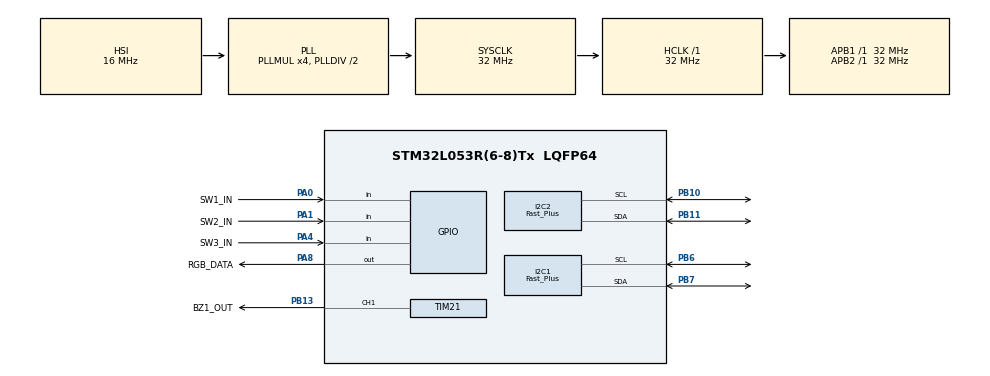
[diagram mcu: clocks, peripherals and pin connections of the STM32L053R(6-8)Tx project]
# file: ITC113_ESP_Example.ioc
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I2C1.I2C_Speed_Mode=I2C_Fast_Plus
I2C1.Timing=0x00100413
I2C2.I2C_Speed_Mode=I2C_Fast_Plus
I2C2.Timing=0x00100413
Mcu.Family=STM32L0
Mcu.Name=STM32L053R(6-8)Tx
Mcu.Package=LQFP64
NVIC.TIM6_DAC_IRQn=true\:0\:0\:false\:false\:true\:true\:true\:true
PA0.GPIO_Label=SW1_IN
PA0.Signal=GPIO_Input
PA1.GPIO_Label=SW2_IN
PA1.Signal=GPIO_Input
PA4.GPIO_Label=SW3_IN
PA4.Signal=GPIO_Input
PA8.GPIO_Label=RGB_DATA
PA8.Signal=GPIO_Output
PB10.Mode=I2C
PB10.Signal=I2C2_SCL
PB11.Mode=I2C
PB11.Signal=I2C2_SDA
PB13.GPIO_Label=BZ1_OUT
PB13.Signal=S_TIM21_CH1
PB6.Mode=I2C
PB6.Signal=I2C1_SCL
PB7.Mode=I2C
PB7.Signal=I2C1_SDA
PC14-OSC32_IN.Mode=LSE-External-Oscillator
PC14-OSC32_IN.Signal=RCC_OSC32_IN
PC15-OSC32_OUT.Mode=LSE-External-Oscillator
PC15-OSC32_OUT.Signal=RCC_OSC32_OUT
ProjectManager.HeapSize=0x400
ProjectManager.StackSize=0x200
ProjectManager.TargetToolchain=MDK-ARM V5.32
RCC.AHBFreq_Value=32000000
RCC.APB1Freq_Value=32000000
RCC.APB1TimFreq_Value=32000000
RCC.APB2Freq_Value=32000000
RCC.APB2TimFreq_Value=32000000
RCC.HCLKFreq_Value=32000000
RCC.HSE_VALUE=8000000
RCC.HSI16_VALUE=16000000
RCC.HSI48MClockSelection=RCC_USBCLKSOURCE_HSI48
RCC.HSI48_VALUE=48000000
RCC.HSI_VALUE=16000000
RCC.MSI_VALUE=2097000
RCC.PLLMUL=RCC_PLLMUL_4
RCC.RTCClockSelection=RCC_RTCCLKSOURCE_LSE
RCC.RTCClockSelectionVirtual=RCC_RTCCLKSOURCE_LSE
RCC.SYSCLKFreq_VALUE=32000000
RCC.SYSCLKSource=RCC_SYSCLKSOURCE_PLLCLK
RCC.VCOOutputFreq_Value=64000000
SH.S_TIM21_CH1.0=TIM21_CH1,PWM Generation1 CH1
TIM21.Channel-PWM\ Generation1\ CH1=TIM_CHANNEL_1
TIM21.Period=250-1
TIM21.Prescaler=32-1
TIM6.Period=1000-1
TIM6.Prescaler=32-1
VP_RTC_VS_RTC_Activate.Mode=RTC_Enabled
VP_TIM21_VS_ClockSourceINT.Mode=Internal
VP_TIM6_VS_ClockSourceINT.Mode=Enable_Timer
board=custom

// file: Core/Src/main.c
/* USER CODE BEGIN Header */
/**
 ******************************************************************************
 * @file           : main.c
 * @brief          : Main program body
 ******************************************************************************
 * @attention
 *
 * Copyright (c) 2024 STMicroelectronics.
 * All rights reserved.
 *
 * This software is licensed under terms that can be found in the LICENSE file
 * in the root directory of this software component.
 * If no LICENSE file comes with this software, it is provided AS-IS.
 *
 ******************************************************************************
 */
/* USER CODE END Header */
#include "main.h"

/* USER CODE BEGIN Includes */
#include "fonts.h"
#include "ssd1306.h"
#include "stdio.h"
/* USER CODE END Includes */

/* USER CODE BEGIN PD */
#define INA3221_ADDRESS 0x40 << 1

#define BASE_SW_PORT SW1_IN_GPIO_Port
#define BTN_DOWN(pin) (HAL_GPIO_ReadPin(pin##_IN_GPIO_Port, pin##_IN_Pin))
#define HAS_BTN_FLAG(pin) (btn_flag & (pin##_IN_Pin))
#define CHECK_BTN(pin) (BTN_DOWN(pin) && !HAS_BTN_FLAG(pin))
#define UPDATE_STATUS (btn_flag = BASE_SW_PORT->IDR)

#define LED_OFF (0x000000)
#define LED_RED (0x000f00)
#define LED_GREEN (0x0f0000)
#define LED_BLUE (0x00000f)
#define LED_WHITE (0x080808)
#define LED_YELLOW (0x080800)
/* USER CODE END PD */

I2C_HandleTypeDef hi2c1;
I2C_HandleTypeDef hi2c2;

RTC_HandleTypeDef hrtc;

TIM_HandleTypeDef htim6;
TIM_HandleTypeDef htim21;

/* USER CODE BEGIN PV */
RTC_DateTypeDef sDate;
RTC_TimeTypeDef sTime;

int total_energy = 0;
uint8_t mode = 1, task = 0, old_task = 0, btn_flag = 0, select_alert = 0;
uint8_t use_alert = 1, use_led = 1;
uint16_t alert_time = 0, led_timer = 0;
uint8_t btn_time_down_flag = 0;
uint32_t btn_down_starttime = 0;

char OLED_buf[30];
int voltages[3] = {0}, currents[3] = {0}, powers[3] = {0};
uint8_t counts[3] = {0};
uint32_t led_colors_buff[3] = {0}, energys_acc[3] = {0}, Q_acc[3] = {0},
         energys[3] = {0}, Q[3] = {0};

uint32_t MODE0_LED_MAP[5] = {LED_OFF, LED_RED, LED_GREEN, LED_BLUE, LED_WHITE};
char *LED_NAME[5] = {"OFF", "RED", "GREEN", "BLUE", "WHITE"};
char *SWITCH_NAME[2] = {"OFF", "ON"};
/* USER CODE END PV */

void SystemClock_Config(void);
static void MX_GPIO_Init(void);
static void MX_I2C1_Init(void);
static void MX_I2C2_Init(void);
static void MX_TIM21_Init(void);
static void MX_TIM6_Init(void);
static void MX_RTC_Init(void);
/* USER CODE BEGIN PFP */
void ws2812b_display_all_led_colors(uint32_t *buff);
void ws2812b_set_colors(uint32_t grb);

void update_data(void);
void clear_leds(void);
/* USER CODE END PFP */

int main(void) {

  /* MCU Configuration--------------------------------------------------------*/

  /* Reset of all peripherals, Initializes the Flash interface and the Systick.
   */
  HAL_Init();

  /* Configure the system clock */
  SystemClock_Config();

  /* Initialize all configured peripherals */
  MX_GPIO_Init();
  MX_I2C1_Init();
  MX_I2C2_Init();
  MX_TIM21_Init();
  MX_TIM6_Init();
  MX_RTC_Init();
  /* USER CODE BEGIN 2 */

  ssd1306_Init(&hi2c2);

  clear_leds();
  HAL_TIM_PWM_Start(&htim21, TIM_CHANNEL_1);
  HAL_TIM_Base_Start_IT(&htim6);

  if (BTN_DOWN(SW2)) mode = 0;
  UPDATE_STATUS;

  /* USER CODE END 2 */

  /* Infinite loop */
  while (1) {

    /* USER CODE BEGIN 3 */
    HAL_RTC_GetTime(&hrtc, &sTime, RTC_FORMAT_BIN);
    HAL_RTC_GetDate(&hrtc, &sDate, RTC_FORMAT_BIN);
    if (mode == 0) {
      if (CHECK_BTN(SW1)) counts[0] = (counts[0] + 1) % 5;
      if (CHECK_BTN(SW2)) counts[1] = (counts[1] + 1) % 5;
      if (CHECK_BTN(SW3)) counts[2] = (counts[2] + 1) % 5;
      UPDATE_STATUS;

      sprintf(OLED_buf, "ITC113_Electronics");
      ssd1306_SetCursor(0, 0);
      ssd1306_WriteString(OLED_buf, Font_7x10, White);

      sprintf(OLED_buf, "Competitor: 00");
      ssd1306_SetCursor(0, 10);
      ssd1306_WriteString(OLED_buf, Font_7x10, White);

      uint8_t btns_stats[] = {BTN_DOWN(SW1), BTN_DOWN(SW2), BTN_DOWN(SW3)};
      for (int i = 0; i < 3; i++) {
        led_colors_buff[i] = MODE0_LED_MAP[counts[i]];
        sprintf(OLED_buf, "SW%d:%3s LED%d:%-5s", i + 1,
                btns_stats[i] ? "ON" : "OFF", i + 1, LED_NAME[counts[i]]);
        ssd1306_SetCursor(0, 10 + 10 * (i + 1));
        ssd1306_WriteString(OLED_buf, Font_7x10, White);
      }

      sprintf(OLED_buf, "SystemRTC:%02d:%02d:%02d", sTime.Hours, sTime.Minutes,
              sTime.Seconds);
      ssd1306_SetCursor(0, 10 * 5);
      ssd1306_WriteString(OLED_buf, Font_7x10, White);
    } else {
      update_data();

      if (CHECK_BTN(SW1)) {
        alert_time = 50;
        if (task > 0) task--;
      } else if (CHECK_BTN(SW3)) {
        alert_time = 50;
        if (task < 4) task++;
      }
      if (old_task != task) {
        clear_leds();
        ssd1306_Fill(Black);
        old_task = task;
        btn_down_starttime = select_alert = 0;
      }
      if (CHECK_BTN(SW2)) {
        btn_time_down_flag = 1;
        btn_down_starttime = HAL_GetTick();
      } else if (btn_time_down_flag) {
        if (HAL_GetTick() - btn_down_starttime > 2000) {
          if (task == 0) {
            alert_time = 300;
            total_energy = 0;
          } else if (task == 1 || task == 2 || task == 3) {
            alert_time = 300;
            Q[task - 1] = Q_acc[task - 1] = 0;
            energys[task - 1] = energys_acc[task - 1] = 0;
          } else if (task == 4) {
            if (select_alert) {
              use_led = !use_led;
              clear_leds();
            } else use_alert = !use_alert;
          }
          btn_time_down_flag = 0;
        } else if (!BTN_DOWN(SW2) && task == 4) {
          select_alert = !select_alert;
          btn_time_down_flag = 0;
        }
      }
      UPDATE_STATUS;

      switch (task) {
        case 0: {
          if (use_led) {
            for (int i = 0; i < 3; i++) {
              int x1 = (i + 1) % 3;
              int x2 = (i + 2) % 3;

              if (powers[i] == 0) led_colors_buff[i] = LED_OFF;
              else if (powers[i] > powers[x1] && powers[i] > powers[x2]) {
                led_colors_buff[i] = LED_RED;  // highest
              } else if (powers[i] < powers[x1] && powers[i] < powers[x2]) {
                led_colors_buff[i] = LED_BLUE;         // 2nd highest
              } else led_colors_buff[i] = LED_YELLOW;  // lowest
            }
          }

          sprintf(OLED_buf, "Total Wattage:");
          ssd1306_SetCursor(0, 0);
          ssd1306_WriteString(OLED_buf, Font_7x10, White);

          int total_power = powers[0];
          for (int i = 1; i < 3; i++) total_power += powers[i];
          total_power /= 10;  // only show 2 decimal
          sprintf(OLED_buf, "%3d.%02dW", total_power / 100,
                  total_power % 100);
          ssd1306_SetCursor(15, 10);
          ssd1306_WriteString(OLED_buf, Font_16x26, White);

          sprintf(OLED_buf, "Energy Used:");
          ssd1306_SetCursor(0, 34);
          ssd1306_WriteString(OLED_buf, Font_7x10, White);

          sprintf(OLED_buf, "%4d.%04dWh", total_energy / 10000,
                  total_energy % 10000);
          ssd1306_SetCursor(6, 44);
          ssd1306_WriteString(OLED_buf, Font_11x18, White);
        } break;
        case 1:
        case 2:
        case 3: {
          if (use_led) led_colors_buff[task - 1] = LED_WHITE;

          sprintf(OLED_buf, "CH%d Information", task);
          ssd1306_SetCursor(0, 0);
          ssd1306_WriteString(OLED_buf, Font_7x10, White);

          int voltage = voltages[task - 1];
          sprintf(OLED_buf, "Voltage:%2d.%03dV", voltage / 1000,
                  voltage % 1000);
          ssd1306_SetCursor(0, 10);
          ssd1306_WriteString(OLED_buf, Font_7x10, White);

          int current = currents[task - 1];
          sprintf(OLED_buf, "Current:%2d.%03dA", current / 1000,
                  current % 1000);
          ssd1306_SetCursor(0, 20);
          ssd1306_WriteString(OLED_buf, Font_7x10, White);

          int power = powers[task - 1];
          sprintf(OLED_buf, "Power:%4d.%03dW", power / 1000, power % 1000);
          ssd1306_SetCursor(0, 30);
          ssd1306_WriteString(OLED_buf, Font_7x10, White);

          int energy = energys[task - 1];
          sprintf(OLED_buf, "Energy:%3d.%04dWh", energy / 10000,
                  energy % 10000);
          ssd1306_SetCursor(0, 40);
          ssd1306_WriteString(OLED_buf, Font_7x10, White);

          int Q_ = Q[task - 1];
          sprintf(OLED_buf, "q:%8d.%03dmAh ", Q_ / 1000, Q_ % 1000);
          ssd1306_SetCursor(0, 50);
          ssd1306_WriteString(OLED_buf, Font_7x10, White);
        } break;
        case 4: {
          sprintf(OLED_buf, "System settings");
          ssd1306_SetCursor(0, 0);
          ssd1306_WriteString(OLED_buf, Font_7x10, White);

          sprintf(OLED_buf, "Buzz:");
          ssd1306_SetCursor(0, 10);
          ssd1306_WriteString(OLED_buf, Font_11x18, White);

          sprintf(OLED_buf, "%-3s", SWITCH_NAME[!!use_alert]);
          ssd1306_SetCursor(60, 10);
          ssd1306_WriteString(OLED_buf, Font_11x18,
                              select_alert ? White : Black);

          sprintf(OLED_buf, "LEDs:");
          ssd1306_SetCursor(0, 28);
          ssd1306_WriteString(OLED_buf, Font_11x18, White);

          sprintf(OLED_buf, "%-3s", SWITCH_NAME[!!use_led]);
          ssd1306_SetCursor(60, 28);
          ssd1306_WriteString(OLED_buf, Font_11x18,
                              select_alert ? Black : White);

          if (use_led) {
            led_colors_buff[counts[0]] = LED_GREEN;
            if (!led_timer) {
              led_timer = 500;
              led_colors_buff[counts[0]] = LED_OFF;
              counts[0] = (counts[0] + 1) % 3;
            }
          }
        } break;
      }
    }
    ssd1306_UpdateScreen(&hi2c2);
  }
  /* USER CODE END 3 */
}

void SystemClock_Config(void) {
  RCC_OscInitTypeDef RCC_OscInitStruct = {0};
  RCC_ClkInitTypeDef RCC_ClkInitStruct = {0};
  RCC_PeriphCLKInitTypeDef PeriphClkInit = {0};

  /** Configure the main internal regulator output voltage
   */
  __HAL_PWR_VOLTAGESCALING_CONFIG(PWR_REGULATOR_VOLTAGE_SCALE1);

  /** Configure LSE Drive Capability
   */
  HAL_PWR_EnableBkUpAccess();
  __HAL_RCC_LSEDRIVE_CONFIG(RCC_LSEDRIVE_LOW);

  /** Initializes the RCC Oscillators according to the specified parameters
   * in the RCC_OscInitTypeDef structure.
   */
  RCC_OscInitStruct.OscillatorType =
      RCC_OSCILLATORTYPE_HSI | RCC_OSCILLATORTYPE_LSE;
  RCC_OscInitStruct.LSEState = RCC_LSE_ON;
  RCC_OscInitStruct.HSIState = RCC_HSI_ON;
  RCC_OscInitStruct.HSICalibrationValue = RCC_HSICALIBRATION_DEFAULT;
  RCC_OscInitStruct.PLL.PLLState = RCC_PLL_ON;
  RCC_OscInitStruct.PLL.PLLSource = RCC_PLLSOURCE_HSI;
  RCC_OscInitStruct.PLL.PLLMUL = RCC_PLLMUL_4;
  RCC_OscInitStruct.PLL.PLLDIV = RCC_PLLDIV_2;
  if (HAL_RCC_OscConfig(&RCC_OscInitStruct) != HAL_OK) {
    Error_Handler();
  }

  /** Initializes the CPU, AHB and APB buses clocks
   */
  RCC_ClkInitStruct.ClockType = RCC_CLOCKTYPE_HCLK | RCC_CLOCKTYPE_SYSCLK |
                                RCC_CLOCKTYPE_PCLK1 | RCC_CLOCKTYPE_PCLK2;
  RCC_ClkInitStruct.SYSCLKSource = RCC_SYSCLKSOURCE_PLLCLK;
  RCC_ClkInitStruct.AHBCLKDivider = RCC_SYSCLK_DIV1;
  RCC_ClkInitStruct.APB1CLKDivider = RCC_HCLK_DIV1;
  RCC_ClkInitStruct.APB2CLKDivider = RCC_HCLK_DIV1;

  if (HAL_RCC_ClockConfig(&RCC_ClkInitStruct, FLASH_LATENCY_1) != HAL_OK) {
    Error_Handler();
  }
  PeriphClkInit.PeriphClockSelection = RCC_PERIPHCLK_I2C1 | RCC_PERIPHCLK_RTC;
  PeriphClkInit.I2c1ClockSelection = RCC_I2C1CLKSOURCE_PCLK1;
  PeriphClkInit.RTCClockSelection = RCC_RTCCLKSOURCE_LSE;
  if (HAL_RCCEx_PeriphCLKConfig(&PeriphClkInit) != HAL_OK) {
    Error_Handler();
  }
}

static void MX_I2C1_Init(void) {

  hi2c1.Instance = I2C1;
  hi2c1.Init.Timing = 0x00100413;
  hi2c1.Init.OwnAddress1 = 0;
  hi2c1.Init.AddressingMode = I2C_ADDRESSINGMODE_7BIT;
  hi2c1.Init.DualAddressMode = I2C_DUALADDRESS_DISABLE;
  hi2c1.Init.OwnAddress2 = 0;
  hi2c1.Init.OwnAddress2Masks = I2C_OA2_NOMASK;
  hi2c1.Init.GeneralCallMode = I2C_GENERALCALL_DISABLE;
  hi2c1.Init.NoStretchMode = I2C_NOSTRETCH_DISABLE;
  if (HAL_I2C_Init(&hi2c1) != HAL_OK) {
    Error_Handler();
  }

  /** Configure Analogue filter
   */
  if (HAL_I2CEx_ConfigAnalogFilter(&hi2c1, I2C_ANALOGFILTER_ENABLE) != HAL_OK) {
    Error_Handler();
  }

  /** Configure Digital filter
   */
  if (HAL_I2CEx_ConfigDigitalFilter(&hi2c1, 0) != HAL_OK) {
    Error_Handler();
  }

  /** I2C Fast mode Plus enable
   */
  HAL_I2CEx_EnableFastModePlus(I2C_FASTMODEPLUS_I2C1);
}

static void MX_I2C2_Init(void) {

  hi2c2.Instance = I2C2;
  hi2c2.Init.Timing = 0x00100413;
  hi2c2.Init.OwnAddress1 = 0;
  hi2c2.Init.AddressingMode = I2C_ADDRESSINGMODE_7BIT;
  hi2c2.Init.DualAddressMode = I2C_DUALADDRESS_DISABLE;
  hi2c2.Init.OwnAddress2 = 0;
  hi2c2.Init.OwnAddress2Masks = I2C_OA2_NOMASK;
  hi2c2.Init.GeneralCallMode = I2C_GENERALCALL_DISABLE;
  hi2c2.Init.NoStretchMode = I2C_NOSTRETCH_DISABLE;
  if (HAL_I2C_Init(&hi2c2) != HAL_OK) {
    Error_Handler();
  }

  /** Configure Analogue filter
   */
  if (HAL_I2CEx_ConfigAnalogFilter(&hi2c2, I2C_ANALOGFILTER_ENABLE) != HAL_OK) {
    Error_Handler();
  }

  /** Configure Digital filter
   */
  if (HAL_I2CEx_ConfigDigitalFilter(&hi2c2, 0) != HAL_OK) {
    Error_Handler();
  }

  /** I2C Fast mode Plus enable
   */
  HAL_I2CEx_EnableFastModePlus(I2C_FASTMODEPLUS_I2C2);
}

static void MX_RTC_Init(void) {

  /** Initialize RTC Only
   */
  hrtc.Instance = RTC;
  hrtc.Init.HourFormat = RTC_HOURFORMAT_24;
  hrtc.Init.AsynchPrediv = 127;
  hrtc.Init.SynchPrediv = 255;
  hrtc.Init.OutPut = RTC_OUTPUT_DISABLE;
  hrtc.Init.OutPutRemap = RTC_OUTPUT_REMAP_NONE;
  hrtc.Init.OutPutPolarity = RTC_OUTPUT_POLARITY_HIGH;
  hrtc.Init.OutPutType = RTC_OUTPUT_TYPE_OPENDRAIN;
  if (HAL_RTC_Init(&hrtc) != HAL_OK) {
    Error_Handler();
  }
}

static void MX_TIM6_Init(void) {

  TIM_MasterConfigTypeDef sMasterConfig = {0};

  htim6.Instance = TIM6;
  htim6.Init.Prescaler = 32 - 1;
  htim6.Init.CounterMode = TIM_COUNTERMODE_UP;
  htim6.Init.Period = 1000 - 1;
  htim6.Init.AutoReloadPreload = TIM_AUTORELOAD_PRELOAD_DISABLE;
  if (HAL_TIM_Base_Init(&htim6) != HAL_OK) {
    Error_Handler();
  }
  sMasterConfig.MasterOutputTrigger = TIM_TRGO_RESET;
  sMasterConfig.MasterSlaveMode = TIM_MASTERSLAVEMODE_DISABLE;
  if (HAL_TIMEx_MasterConfigSynchronization(&htim6, &sMasterConfig) != HAL_OK) {
    Error_Handler();
  }
}

static void MX_TIM21_Init(void) {

  TIM_ClockConfigTypeDef sClockSourceConfig = {0};
  TIM_MasterConfigTypeDef sMasterConfig = {0};
  TIM_OC_InitTypeDef sConfigOC = {0};

  htim21.Instance = TIM21;
  htim21.Init.Prescaler = 32 - 1;
  htim21.Init.CounterMode = TIM_COUNTERMODE_UP;
  htim21.Init.Period = 250 - 1;
  htim21.Init.ClockDivision = TIM_CLOCKDIVISION_DIV1;
  htim21.Init.AutoReloadPreload = TIM_AUTORELOAD_PRELOAD_DISABLE;
  if (HAL_TIM_Base_Init(&htim21) != HAL_OK) {
    Error_Handler();
  }
  sClockSourceConfig.ClockSource = TIM_CLOCKSOURCE_INTERNAL;
  if (HAL_TIM_ConfigClockSource(&htim21, &sClockSourceConfig) != HAL_OK) {
    Error_Handler();
  }
  if (HAL_TIM_PWM_Init(&htim21) != HAL_OK) {
    Error_Handler();
  }
  sMasterConfig.MasterOutputTrigger = TIM_TRGO_RESET;
  sMasterConfig.MasterSlaveMode = TIM_MASTERSLAVEMODE_DISABLE;
  if (HAL_TIMEx_MasterConfigSynchronization(&htim21, &sMasterConfig) !=
      HAL_OK) {
    Error_Handler();
  }
  sConfigOC.OCMode = TIM_OCMODE_PWM1;
  sConfigOC.Pulse = 0;
  sConfigOC.OCPolarity = TIM_OCPOLARITY_HIGH;
  sConfigOC.OCFastMode = TIM_OCFAST_DISABLE;
  if (HAL_TIM_PWM_ConfigChannel(&htim21, &sConfigOC, TIM_CHANNEL_1) != HAL_OK) {
    Error_Handler();
  }
  HAL_TIM_MspPostInit(&htim21);
}

static void MX_GPIO_Init(void) {
  GPIO_InitTypeDef GPIO_InitStruct = {0};

  /* GPIO Ports Clock Enable */
  __HAL_RCC_GPIOC_CLK_ENABLE();
  __HAL_RCC_GPIOA_CLK_ENABLE();
  __HAL_RCC_GPIOB_CLK_ENABLE();

  /*Configure GPIO pin Output Level */
  HAL_GPIO_WritePin(RGB_DATA_GPIO_Port, RGB_DATA_Pin, GPIO_PIN_RESET);

  /*Configure GPIO pins : SW1_IN_Pin SW2_IN_Pin SW3_IN_Pin */
  GPIO_InitStruct.Pin = SW1_IN_Pin | SW2_IN_Pin | SW3_IN_Pin;
  GPIO_InitStruct.Mode = GPIO_MODE_INPUT;
  GPIO_InitStruct.Pull = GPIO_NOPULL;
  HAL_GPIO_Init(GPIOA, &GPIO_InitStruct);

  /*Configure GPIO pin : RGB_DATA_Pin */
  GPIO_InitStruct.Pin = RGB_DATA_Pin;
  GPIO_InitStruct.Mode = GPIO_MODE_OUTPUT_PP;
  GPIO_InitStruct.Pull = GPIO_NOPULL;
  GPIO_InitStruct.Speed = GPIO_SPEED_FREQ_LOW;
  HAL_GPIO_Init(RGB_DATA_GPIO_Port, &GPIO_InitStruct);

}

/* USER CODE BEGIN 4 */
// every 1ms
void HAL_TIM_PeriodElapsedCallback(TIM_HandleTypeDef *htim6) {
  ws2812b_display_all_led_colors(led_colors_buff);

  if (use_alert && alert_time > 0) {
    alert_time--;
    // 32 * 1e6 / 32 / 250 => 4kHz
    // 250 / 2 => 125
    TIM21->CCR1 = 125;
  } else TIM21->CCR1 = 0;

  if (led_timer > 0) led_timer--;

  for (int i = 0; i < 3; i++) {
    Q_acc[i] += currents[i]; // Q = It
    energys_acc[i] += powers[i]; // w = Pt

    if (energys_acc[i] >= 360000) {
      energys_acc[i] = 0;
      energys[i]++;
      total_energy++;
    }

    if (Q_acc[i] >= 3600) {
      Q_acc[i] = 0;
      Q[i]++;
    }
  }
}
void ws2812b_set_colors(uint32_t grb) {
  uint_fast32_t ns;                 // variable for delay
  uint_fast32_t mask = 0x00800000;  // start from the highest bit

  for (uint_fast8_t i = 0; i < 24; i++)  // 24 bits
  {
    if (grb & mask)  // *** bit 1 ***
    {
      RGB_DATA_GPIO_Port->BSRR = RGB_DATA_Pin;  // 800 ns   should be
      ns = 11;                                  // 820 ns   measured
      while (ns--) __asm("nop");

      RGB_DATA_GPIO_Port->BRR = RGB_DATA_Pin;  // 450 ns   should be
      ns = 5;                                  // 410 ns   measured
      while (ns--) __asm("nop");
    } else  // *** bit 0 ***
    {
      RGB_DATA_GPIO_Port->BSRR = RGB_DATA_Pin;  // 400 ns   should be
      ns = 5;                                   // 440 ns   measured
      while (ns--) __asm("nop");
      RGB_DATA_GPIO_Port->BRR = RGB_DATA_Pin;  // 850 ns   should be
      ns = 10;                                 // 840 ns   measured
      while (ns--) __asm("nop");
    }
    mask >>= 1;  // next bit
  }
}
void ws2812b_display_all_led_colors(uint32_t *buff) {
  for (uint8_t i = 0; i < 3; i++) ws2812b_set_colors(buff[i]);
}

/* ina3221.pdf 8.6.1 */

uint16_t read_reg(uint8_t reg) {
  uint8_t rx[2], tx[] = {reg};
  HAL_I2C_Master_Transmit(&hi2c1, 0x80, tx, 1, 5);
  HAL_I2C_Master_Receive(&hi2c1, 0x80, rx, 2, 5);
  return (uint16_t)(rx[0] << 8) | (rx[1]);
}

void update_data() {
  for (uint8_t i = 0; i < 3; i++) {
    voltages[i] = read_reg(0x02 + i * 2);
    currents[i] = read_reg(0x01 + i * 2) / 20;
    powers[i] = voltages[i] * currents[i] / 1e3;
  }
}

void clear_leds() {
  led_colors_buff[0] = led_colors_buff[1] = led_colors_buff[2] = LED_OFF;
}
/* USER CODE END 4 */

void Error_Handler(void) {
  __disable_irq();
  while (1) {
  }
}

#ifdef USE_FULL_ASSERT
/**
 * @brief  Reports the name of the source file and the source line number
 *         where the assert_param error has occurred.
 * @param  file: pointer to the source file name
 * @param  line: assert_param error line source number
 * @retval None
 */
void assert_failed(uint8_t *file, uint32_t line) {
  /* USER CODE BEGIN 6 */
  /* User can add his own implementation to report the file name and line
     number, ex: printf("Wrong parameters value: file %s on line %d\r\n", file,
     line) */
  /* USER CODE END 6 */
}
#endif /* USE_FULL_ASSERT */
